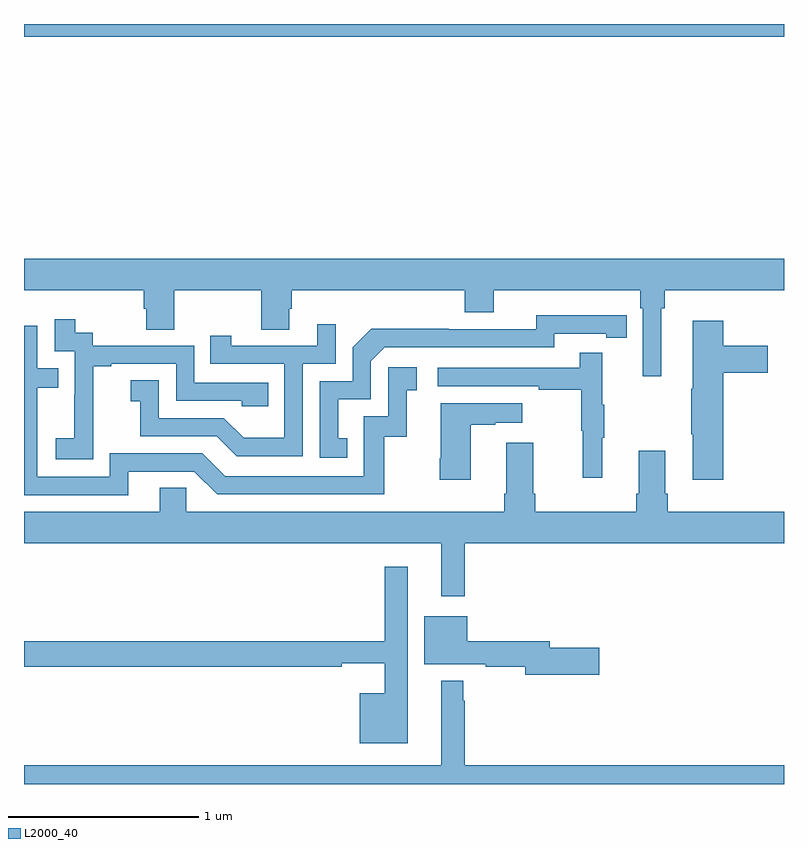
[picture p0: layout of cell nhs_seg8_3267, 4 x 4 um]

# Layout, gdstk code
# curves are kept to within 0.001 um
import gdstk
lib = gdstk.Library(unit=1e-6, precision=1e-09)
def R(c, l, rs):  # rectangles x0, y0, x1, y1
    for r in rs: c.add(gdstk.rectangle(r[:2], r[2:], *l))
def P(c, l, *ps):  # polygons
    for p in ps: c.add(gdstk.Polygon(p, *l))
L2000_40 = (2000, 40)

nhs_seg8_3267 = lib.new_cell('nhs_seg8_3267')
R(nhs_seg8_3267, L2000_40, [(313,1117.832,317,1117.9)])
P(nhs_seg8_3267, L2000_40, [(316.354,1116.404),(316.373,1116.404),(316.373,1116.5),(317,1116.5),(317,1116.664),(313,1116.664),(313,1116.5),(313.631,1116.5),(313.631,1116.402),(313.643,1116.402),(313.643,1116.292),(313.791,1116.292),(313.791,1116.5),(314.248,1116.5),(314.248,1116.292),(314.395,1116.292),(314.395,1116.402),(314.408,1116.402),(314.408,1116.5),(315.32,1116.5),(315.32,1116.383),(315.472,1116.383),(315.472,1116.5),(316.244,1116.5),(316.244,1116.404),(316.257,1116.404),(316.257,1116.045),(316.354,1116.045)],
  [(314.702,1115.721),(314.653,1115.721),(314.653,1115.925),(314.826,1115.925),(314.826,1116.126),(314.898,1116.198),(315.792,1116.198),(315.792,1116.27),(316.064,1116.27),(316.064,1116.25),(316.172,1116.25),(316.172,1116.366),(315.696,1116.367),(315.696,1116.294),(315.236,1116.294),(315.236,1116.296),(314.828,1116.296),(314.73,1116.198),(314.73,1116.021),(314.556,1116.021),(314.556,1115.616),(314.702,1115.616)],
  [(313.365,1115.815),(313.364,1115.815),(313.364,1116.099),(313.459,1116.099),(313.459,1116.111),(313.8,1116.111),(313.8,1115.916),(314.145,1115.916),(314.145,1115.889),(314.285,1115.889),(314.285,1116.012),(313.896,1116.012),(313.896,1116.207),(313.362,1116.207),(313.362,1116.276),(313.27,1116.276),(313.27,1116.346),(313.161,1116.346),(313.161,1116.177),(313.266,1116.177),(313.266,1115.948),(313.265,1115.948),(313.265,1115.719),(313.167,1115.719),(313.167,1115.609),(313.365,1115.609)],
  [(316.679,1116.065),(316.915,1116.065),(316.915,1116.207),(316.679,1116.207),(316.679,1116.337),(316.52,1116.337),(316.52,1115.981),(316.513,1115.981),(316.513,1115.74),(316.52,1115.74),(316.52,1115.502),(316.679,1115.502)],
  [(314.466,1116.111),(314.64,1116.111),(314.64,1116.319),(314.543,1116.319),(314.543,1116.207),(314.092,1116.207),(314.092,1116.259),(313.981,1116.259),(313.981,1116.111),(314.37,1116.111),(314.37,1115.722),(314.156,1115.722),(314.052,1115.826),(313.71,1115.826),(313.71,1116.025),(313.563,1116.025),(313.563,1115.915),(313.612,1115.915),(313.612,1115.73),(314.015,1115.73),(314.12,1115.625),(314.466,1115.625)],
  [(313.549,1115.544),(313.896,1115.544),(314.016,1115.424),(314.896,1115.424),(314.896,1115.727),(315.014,1115.727),(315.014,1115.973),(315.067,1115.973),(315.067,1116.094),(314.916,1116.094),(314.916,1115.835),(314.787,1115.835),(314.787,1115.52),(314.058,1115.52),(313.938,1115.64),(313.452,1115.64),(313.452,1115.517),(313.071,1115.517),(313.071,1115.986),(313.181,1115.986),(313.181,1116.087),(313.071,1116.087),(313.071,1116.312),(313,1116.312),(313,1115.421),(313.549,1115.421)],
  [(316.043,1115.723),(316.054,1115.723),(316.054,1115.897),(316.043,1115.897),(316.043,1116.169),(315.925,1116.169),(315.925,1116.09),(315.177,1116.09),(315.177,1115.994),(315.709,1115.994),(315.709,1115.974),(315.933,1115.974),(315.933,1115.76),(315.94,1115.76),(315.94,1115.511),(316.043,1115.511)],
  [(315.352,1115.791),(315.479,1115.791),(315.479,1115.801),(315.622,1115.801),(315.622,1115.905),(315.194,1115.905),(315.194,1115.614),(315.187,1115.614),(315.187,1115.502),(315.352,1115.502)],
  [(315.319,1115.168),(317,1115.168),(317,1115.332),(316.388,1115.332),(316.388,1115.428),(316.375,1115.428),(316.375,1115.653),(316.235,1115.653),(316.235,1115.428),(316.223,1115.428),(316.223,1115.332),(315.692,1115.332),(315.692,1115.428),(315.679,1115.428),(315.679,1115.695),(315.539,1115.695),(315.539,1115.428),(315.527,1115.428),(315.527,1115.332),(313.854,1115.332),(313.854,1115.459),(313.715,1115.459),(313.715,1115.332),(313,1115.332),(313,1115.168),(315.197,1115.168),(315.197,1114.887),(315.319,1114.887)],
  [(315.019,1115.044),(314.898,1115.044),(314.898,1114.652),(313,1114.652),(313,1114.516),(314.672,1114.516),(314.672,1114.535),(314.898,1114.535),(314.898,1114.378),(314.768,1114.378),(314.768,1114.115),(315.019,1114.115)],
  [(316.027,1114.616),(315.766,1114.616),(315.766,1114.652),(315.334,1114.652),(315.334,1114.783),(315.107,1114.783),(315.107,1114.529),(315.43,1114.529),(315.43,1114.516),(315.638,1114.516),(315.638,1114.474),(316.027,1114.474)],
  [(317,1114),(315.319,1114),(315.319,1114.337),(315.312,1114.337),(315.312,1114.444),(315.197,1114.444),(315.197,1114),(313,1114),(313,1113.9),(317,1113.9)])

lib.write_gds('nhs_seg8_3267.gds')
